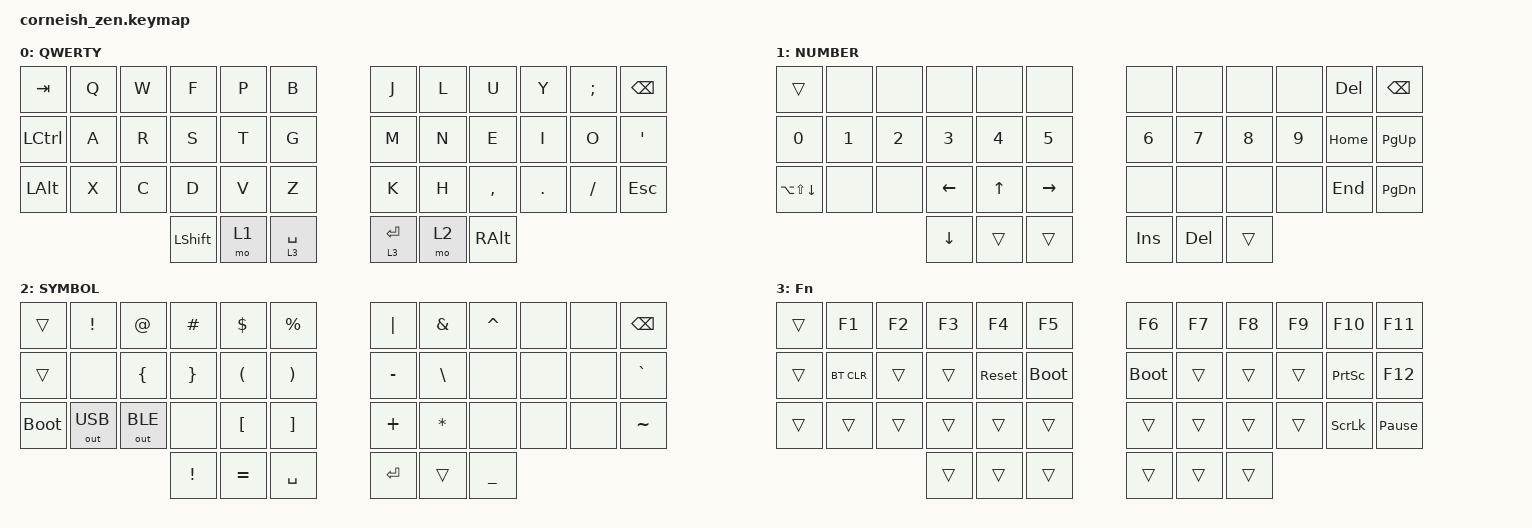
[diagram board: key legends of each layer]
/*
 * Copyright (c) 2020 The ZMK Contributors
 *
 * SPDX-License-Identifier: MIT
 */

#include <behaviors.dtsi>
#include <dt-bindings/zmk/bt.h>
#include <dt-bindings/zmk/keys.h>
#include <dt-bindings/zmk/outputs.h>

/ {
    chosen {
        zmk,matrix_transform = &default_transform;

        // zmk,matrix_transform = &five_column_transform;
    };
};

/ {
    behaviors {
        td0: td0 {
            compatible = "zmk,behavior-tap-dance";
            label = "TD0";
            #binding-cells = <0>;
            bindings = <&kp LEFT_SHIFT>, <&kp CAPS>;
        };
    };

    keymap {
        compatible = "zmk,keymap";

        default_layer {
            display-name = "QWERTY";

            // --------------------------------------------------------------------------------
            // |  TAB |  Q  |  W  |  E  |  R  |  T  |   |  Y  |  U   |  I  |  O  |  P  | BKSP |
            // | CTRL |  A  |  S  |  D  |  F  |  G  |   |  H  |  J   |  K  |  L  |  ;  |  '   | 
            // | SHFT |  Z  |  X  |  C  |  V  |  B  |   |  N  |  M   |  ,  |  .  |  /  | ESC  |
            //                    | GUI | LWR | SPC |   | ENT | RSE  | ALT |

            bindings = <
&kp TAB       &kp Q  &kp W  &kp F           &kp P  &kp B          &kp J        &kp L  &kp U      &kp Y    &kp SEMICOLON  &kp BSPC
&kp LCTRL     &kp A  &kp R  &kp S           &kp T  &kp G          &kp M        &kp N  &kp E      &kp I    &kp O          &kp SQT
&kp LEFT_ALT  &kp X  &kp C  &kp D           &kp V  &kp Z          &kp K        &kp H  &kp COMMA  &kp DOT  &kp FSLH       &kp ESC
                            &kp LEFT_SHIFT  &mo 1  &lt 3 SPACE    &lt 3 ENTER  &mo 2  &kp RALT
            >;
        };

        lower_layer {
            display-name = "NUMBER";

            // -----------------------------------------------------------------------------------------
            // |  TAB |  1  |  2  |  3  |  4  |  5  |   |  6  |  7  |  8  |  9  |  0  | BKSP |
            // | BTCLR| BT1 | BT2 | BT3 | BT4 | BT5 |   | LFT | DWN |  UP | RGT |     |      |
            // | SHFT |     |     |     |     |     |   |     |     |     |     |     |      |
            //                    | GUI |     | SPC |   | ENT |     | ALT |

            bindings = <
&trans                  &none         &none         &none           &none         &none              &none         &none         &none         &none         &kp DEL   &kp BSPC
&kp NUMBER_0            &kp NUMBER_1  &kp NUMBER_2  &kp NUMBER_3    &kp NUMBER_4  &kp NUMBER_5       &kp NUMBER_6  &kp NUMBER_7  &kp NUMBER_8  &kp NUMBER_9  &kp HOME  &kp PG_UP
&kp LA(LS(DOWN_ARROW))  &none         &none         &kp LEFT_ARROW  &kp UP_ARROW  &kp RIGHT_ARROW    &none         &none         &none         &none         &kp END   &kp PG_DN
                                                    &kp DOWN_ARROW  &trans        &trans             &kp INS       &kp DEL       &trans
            >;
        };

        raise_layer {
            display-name = "SYMBOL";

            // -----------------------------------------------------------------------------------------
            // |  TAB |  !  |  @  |  #  |  $  |  %  |   |  ^  |  &  |  *  |  (  |  )  | BKSP |
            // | CTRL |     |     |     |     |     |   |  -  |  =  |  [  |  ]  |  \  |  `   |
            // | SHFT |     |     |     |     |     |   |  _  |  +  |  {  |  }  | "|" |  ~   |
            //                    | GUI |     | SPC |   | ENT |     | ALT |

            bindings = <
&trans       &kp EXCL      &kp AT          &kp HASH         &kp DLLR              &kp PRCNT                &kp PIPE   &kp AMPS       &kp CARET       &none  &none  &kp BSPC
&trans       &none         &kp LEFT_BRACE  &kp RIGHT_BRACE  &kp LEFT_PARENTHESIS  &kp RIGHT_PARENTHESIS    &kp MINUS  &kp BACKSLASH  &none           &none  &none  &kp GRAVE
&bootloader  &out OUT_USB  &out OUT_BLE    &none            &kp LEFT_BRACKET      &kp RIGHT_BRACKET        &kp PLUS   &kp ASTERISK   &none           &none  &none  &kp TILDE
                                           &kp EXCLAMATION  &kp EQUAL             &kp SPACE                &kp RET    &trans         &kp UNDERSCORE
            >;
        };

        layer_3 {
            display-name = "Fn";
            bindings = <
&trans  &kp F1      &kp F2  &kp F3  &kp F4      &kp F5         &kp F6       &kp F7  &kp F8  &kp F9  &kp F10          &kp F11
&trans  &bt BT_CLR  &trans  &trans  &sys_reset  &bootloader    &bootloader  &trans  &trans  &trans  &kp PRINTSCREEN  &kp F12
&trans  &trans      &trans  &trans  &trans      &trans         &trans       &trans  &trans  &trans  &kp SCROLLLOCK   &kp PAUSE_BREAK
                            &trans  &trans      &trans         &trans       &trans  &trans
            >;
        };
    };
};
